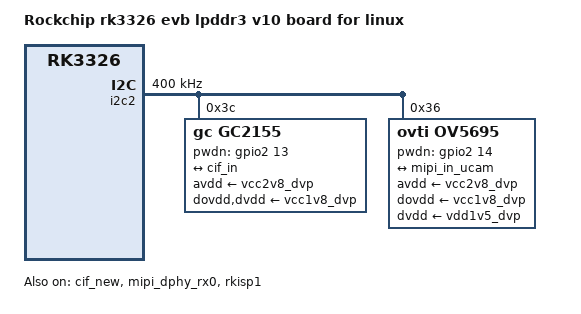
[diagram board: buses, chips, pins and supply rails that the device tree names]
// SPDX-License-Identifier: (GPL-2.0+ OR MIT)
/*
 * Copyright (c) 2018 Fuzhou Rockchip Electronics Co., Ltd
 */

/dts-v1/;
#include "rk3326.dtsi"
#include "rk3326-linux.dtsi"
#include "rk3326-evb-lp3-v10.dtsi"

/ {
	model = "Rockchip rk3326 evb lpddr3 v10 board for linux";
	compatible = "rockchip,rk3326-evb-lp3-v10-linux", "rockchip,rk3326";

	chosen {
                bootargs = "earlycon=uart8250,mmio32,0xff160000 console=ttyFIQ0 rw root=PARTUUID=614e0000-0000 rootfstype=ext4 rootwait";
        };

	/delete-node/ test-power;
};

&cif_new {
	status = "okay";

	port {
		cif_in: endpoint {
			remote-endpoint = <&gc2155_out>;
			vsync-active = <0>;
			hsync-active = <1>;
		};
	};
};

&i2c2 {
	status = "okay";
	clock-frequency = <400000>;

	/* 24M mclk is shared for multiple cameras */
	pinctrl-0 = <&i2c2_xfer &cif_clkout_m0>;

	/* These are relatively safe rise/fall times; TODO: measure */
	i2c-scl-falling-time-ns = <50>;
	i2c-scl-rising-time-ns = <300>;

	gc2155: gc2155@3c {
		compatible = "gc,gc2155";
		reg = <0x3c>;
		pinctrl-names = "default";
		pinctrl-0 = <&cif_pin_m0>;

		clocks = <&cru SCLK_CIF_OUT>;
		clock-names = "xvclk";

		avdd-supply = <&vcc2v8_dvp>;
		dovdd-supply = <&vcc1v8_dvp>;
		dvdd-supply = <&vcc1v8_dvp>;

		/* hw changed the pwdn to gpio2_b5 */
		pwdn-gpios = <&gpio2 13 GPIO_ACTIVE_HIGH>;

		port {
			gc2155_out: endpoint {
				remote-endpoint = <&cif_in>;
			};
		};
	};

	ov5695: ov5695@36 {
		compatible = "ovti,ov5695";
		reg = <0x36>;

		clocks = <&cru SCLK_CIF_OUT>;
		clock-names = "xvclk";

		avdd-supply = <&vcc2v8_dvp>;
		dovdd-supply = <&vcc1v8_dvp>;
		dvdd-supply = <&vdd1v5_dvp>;

		/*reset-gpios = <&gpio2 14 GPIO_ACTIVE_HIGH>;*/
		pwdn-gpios = <&gpio2 14 GPIO_ACTIVE_HIGH>;

		rockchip,camera-module-index = <0>;
		rockchip,camera-module-facing = "back";
		rockchip,camera-module-name = "TongJu";
		rockchip,camera-module-lens-name = "CHT842-MD";

		port {
			ucam_out: endpoint {
				remote-endpoint = <&mipi_in_ucam>;
				data-lanes = <1 2>;
			};
		};
	};
};

&mipi_dphy_rx0 {
	status = "okay";

	ports {
		#address-cells = <1>;
		#size-cells = <0>;

		port@0 {
			reg = <0>;
			#address-cells = <1>;
			#size-cells = <0>;

			mipi_in_ucam: endpoint@1 {
				reg = <1>;
				remote-endpoint = <&ucam_out>;
				data-lanes = <1 2>;
			};
		};

		port@1 {
			reg = <1>;
			#address-cells = <1>;
			#size-cells = <0>;

			dphy_rx0_out: endpoint@0 {
				reg = <0>;
				remote-endpoint = <&isp0_mipi_in>;
			};
		};
	};
};

&pinctrl {
	cif-pin-m0 {
		cif_pin_m0: cif-pin-m0 {
			rockchip,pins =
				<2 RK_PA0 1 &pcfg_pull_none>,/* cif_data2 */
				<2 RK_PA1 1 &pcfg_pull_none>,/* cif_data3 */
				<2 RK_PA2 1 &pcfg_pull_none>,/* cif_data4 */
				<2 RK_PA3 1 &pcfg_pull_none>,/* cif_data5 */
				<2 RK_PA4 1 &pcfg_pull_none>,/* cif_data6 */
				<2 RK_PA5 1 &pcfg_pull_none>,/* cif_data7 */
				<2 RK_PA6 1 &pcfg_pull_none>,/* cif_data8 */
				<2 RK_PA7 1 &pcfg_pull_none>,/* cif_data9 */
				<2 RK_PB0 1 &pcfg_pull_none>,/* cif_sync */
				<2 RK_PB1 1 &pcfg_pull_none>,/* cif_href */
				<2 RK_PB2 1 &pcfg_pull_none>;/* cif_clkin */
		};
	};
};

&rkisp1 {
	status = "okay";

	port {
		#address-cells = <1>;
		#size-cells = <0>;

		isp0_mipi_in: endpoint@0 {
			reg = <0>;
			remote-endpoint = <&dphy_rx0_out>;
		};
	};
};

&vip_mmu {
	status = "okay";
};
